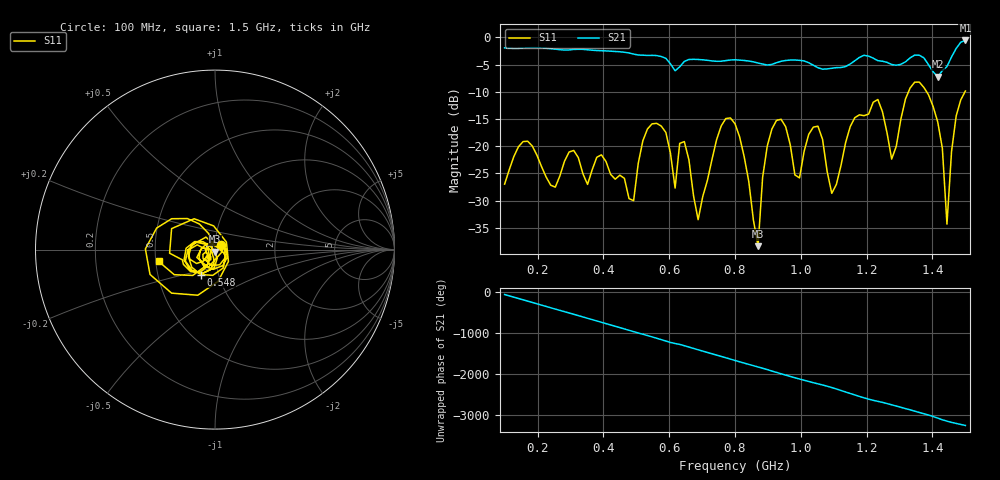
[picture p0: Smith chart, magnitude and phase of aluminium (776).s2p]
! NanoVNA-App
! Date: 2025-09-25 15:01:19
! Start: 100MHz Stop: 1,5GHz Points: 101
! S-Parameter data: F S11 S21 S12 S22
# Hz S RI R 50
!  Frequency  S11_Real  S11_Imag  S21_Real  S21_Imag  S12_Real  S12_Imag  S22_Real  S22_Imag
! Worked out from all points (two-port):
!   101 points, 100 MHz to 1.5 GHz, reference 50 ohm
!   highest |S21| = -0.57 dB at 1.5 GHz (marker M1); lowest = -7.2 dB at 1.416 GHz (marker M2)
!   |S21| within 3 dB of the highest: start of sweep to 578.3 MHz; 1.458 GHz to end of sweep (the widest 2 of 4)
!   lowest |S11| = -38.4 dB at 870 MHz (marker M3), VSWR 1.02, Z = 50.1 - j1.21 ohm
!   |S11| at or under -10 dB: start of sweep to 1.327 GHz; 1.382 GHz to 1.499 GHz (116.6 MHz wide, 8.09 % of centre)
!   S12 and S22 are empty: the file has one direction only
!   S11 on the Smith chart (normalised r, x): 100 MHz: 1.07, +0.06; 548 MHz: 0.82, -0.23; 1.5 GHz: 0.52, -0.08
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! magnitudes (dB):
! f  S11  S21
! 100 MHz  -27.0  -1.9
! 156 MHz  -19.1  -2.0
! 338 MHz  -25.1  -2.2
! 492 MHz  -30.0  -3.1
! 548 MHz  -15.9  -3.3
! 576 MHz  -16.3  -3.5
! 618 MHz  -27.7  -6.1
! 646 MHz  -19.1  -4.4
! 688 MHz  -33.5  -4.1
! 800 MHz  -15.9  -4.1
! 870 MHz  -38.4  -4.7
! 912 MHz  -16.8  -5.0
! 996 MHz  -25.8  -4.2
! 1.038 GHz  -16.5  -5.1
! 1.094 GHz  -28.6  -5.7
! 1.234 GHz  -11.4  -4.3
! 1.276 GHz  -22.4  -5.0
! 1.346 GHz  -8.2  -3.3
! 1.416 GHz  -15.5  -7.2
! 1.444 GHz  -34.3  -5.4
! 1.472 GHz  -14.4  -2.0
! 1.5 GHz  -9.9  -0.6
